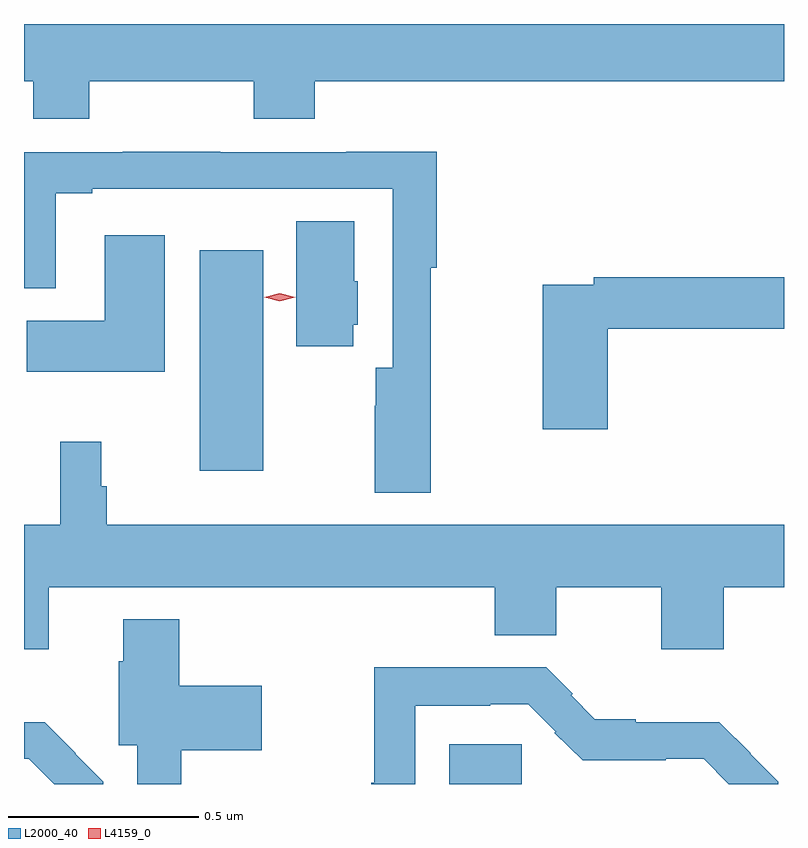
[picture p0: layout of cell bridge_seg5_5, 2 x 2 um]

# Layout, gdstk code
import gdstk
lib = gdstk.Library(unit=1e-6, precision=1e-09)
def R(c, l, rs):  # rectangles x0, y0, x1, y1
    for r in rs: c.add(gdstk.rectangle(r[:2], r[2:], *l))
def P(c, l, *ps):  # polygons
    for p in ps: c.add(gdstk.Polygon(p, *l))
L2000_40 = (2000, 40)
L4159_0 = (4159, 0)

bridge_seg5_5 = lib.new_cell('bridge_seg5_5')
R(bridge_seg5_5, L2000_40, [(988.496,841.59,988.687,841.694), (987.839,842.415,988.006,842.995)])
P(bridge_seg5_5, L2000_40, [(987.549,843.44),(987.982,843.44),(987.982,843.341),(988.142,843.341),(988.142,843.44),(989.377,843.44),(989.377,843.59),(987.377,843.59),(987.377,843.44),(987.401,843.44),(987.401,843.341),(987.549,843.341)],
  [(988.448,842.949),(988.463,842.949),(988.463,843.254),(988.225,843.254),(988.225,843.252),(987.893,843.252),(987.893,843.254),(987.637,843.254),(987.637,843.252),(987.377,843.252),(987.377,842.894),(987.46,842.894),(987.46,843.144),(987.556,843.144),(987.556,843.156),(988.347,843.156),(988.347,842.686),(988.302,842.686),(988.302,842.585),(988.3,842.585),(988.3,842.357),(988.448,842.357)],
  [(988.244,842.799),(988.255,842.799),(988.255,842.913),(988.246,842.913),(988.246,843.071),(988.094,843.071),(988.094,842.742),(988.244,842.742)],
  [(987.748,843.034),(987.59,843.034),(987.59,842.809),(987.384,842.809),(987.384,842.675),(987.748,842.675)],
  [(988.913,842.788),(989.377,842.788),(989.377,842.924),(988.876,842.924),(988.876,842.904),(988.742,842.904),(988.742,842.523),(988.913,842.523)],
  [(987.442,842.108),(988.616,842.108),(988.616,841.982),(988.777,841.982),(988.777,842.108),(989.054,842.108),(989.054,841.944),(989.218,841.944),(989.218,842.108),(989.377,842.108),(989.377,842.272),(987.595,842.272),(987.595,842.373),(987.58,842.373),(987.58,842.491),(987.473,842.491),(987.473,842.272),(987.377,842.272),(987.377,841.944),(987.442,841.944)],
  [(987.791,841.679),(988.003,841.679),(988.003,841.849),(987.785,841.849),(987.785,842.023),(987.638,842.023),(987.638,841.913),(987.626,841.913),(987.626,841.692),(987.675,841.692),(987.675,841.59),(987.791,841.59)],
  [(988.407,841.796),(988.604,841.796),(988.604,841.8),(988.704,841.8),(988.776,841.728),(988.773,841.725),(988.847,841.652),(989.066,841.652),(989.066,841.656),(989.166,841.656),(989.232,841.59),(989.362,841.59),(989.362,841.596),(989.288,841.67),(989.289,841.671),(989.207,841.753),(988.987,841.753),(988.987,841.761),(988.879,841.761),(988.817,841.823),(988.821,841.827),(988.751,841.897),(988.299,841.897),(988.299,841.593),(988.291,841.593),(988.291,841.59),(988.407,841.59)],
  [(987.586,841.596),(987.512,841.67),(987.513,841.671),(987.431,841.753),(987.377,841.753),(987.377,841.656),(987.39,841.656),(987.456,841.59),(987.586,841.59)])
P(bridge_seg5_5, L4159_0, [(988.05,842.861),(988.009,842.871),(988.008,842.871),(988.009,842.871),(988.05,842.881),(988.091,842.871),(988.091,842.871),(988.091,842.871)])

lib.write_gds('bridge_seg5_5.gds')
